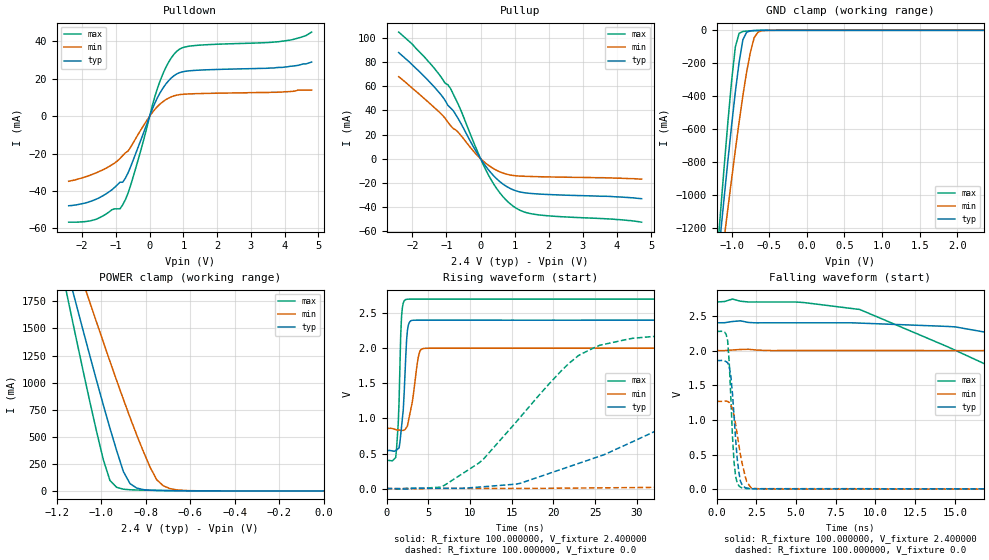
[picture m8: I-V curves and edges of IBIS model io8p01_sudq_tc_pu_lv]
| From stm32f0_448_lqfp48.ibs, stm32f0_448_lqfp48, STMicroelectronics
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|   Model io8p01_sudq_tc_pu_lv
[Model]  io8p01_sudq_tc_pu_lv
Model_type I/O
Polarity   Non-Inverting
Enable   Active-Low
Vinl =   0.720000V
Vinh =   1.680000V
Vmeas =  1.200000V
Cref =   50.000000pF
Rref =   100.000000M
Vref =   0.0V
C_comp   1.378000pF   1.292700pF   1.486400pF
[Temperature Range]   25.000000   0.125000k   -40.000000
[Pullup Reference]   2.400000V   2.000000V   2.700000V
[Pulldown Reference]   0.0V   0.0V   0.0V
[POWER Clamp Reference]   2.400000V   2.000000V   2.700000V
[GND Clamp Reference]   0.0V   0.0V   0.0V
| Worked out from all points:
|   slope of the pulldown table from 0 to 0.36 V, typ, clamps not added: 25.7 ohm
|   slope of the pullup table from 0 to 0.36 V, typ, clamps not added: 26.8 ohm
|   GND clamp passes 1 mA (typ) near -0.67 V on its own axis
|   POWER clamp passes 1 mA (typ) near -0.60 V on its own axis
|   rising waveform, R_fixture 100.000000, V_fixture 2.400000: 20-80 % time 540ps typ, 838ps min, 354ps max; typ from 0.543 V to 2.4 V
|   rising waveform, R_fixture 100.000000, V_fixture 0.0: 20-80 % time 22.5ns typ, 62.6ns min, 10.4ns max; typ from 0.001 V to 1.86 V
|   falling waveform, R_fixture 100.000000, V_fixture 2.400000: 20-80 % time 28.7ns typ, 66.4ns min, 14.8ns max; typ from 2.4 V to 0.543 V
|   falling waveform, R_fixture 100.000000, V_fixture 0.0: 20-80 % time 377ps typ, 594ps min, 284ps max; typ from 1.86 V to 0.001 V
[Pulldown]
|Voltage   I(typ)   I(min)   I(max)
-2.4V     -47.9mA    -34.8mA    -56.7mA
-1.6V     -44.5mA    -30.4mA    -55.2mA
-880mV    -35.33mA   -22.63mA   -49.55mA
-800mV    -35.33mA   -21.13mA   -47.42mA
-640mV    -30.33mA   -18.65mA   -41.16mA
-480mV    -23.12mA   -14mA      -31.94mA
240mV     10.22mA    5.339mA    15.38mA
480mV     17.22mA    8.864mA    26.1mA
800mV     22.59mA    11.27mA    34.68mA
1.28V     24.44mA    12mA       37.7mA
4.16V     26.7mA     13.2mA     40.7mA
4.8V      29mA       14mA       45mA
[Pullup]
|Voltage   I(typ)   I(min)   I(max)
-2.4V     88mA       68mA       105mA
-2V       77.8mA     58.5mA     95mA
-1.36V    59.6mA     42.5mA     75.1mA
-880mV    42.12mA    27.44mA    58.22mA
-560mV    28.45mA    18.75mA    39mA
-160mV    7.44mA     4.66mA     10.64mA
160mV     -6.607mA   -3.947mA   -9.704mA
480mV     -16.91mA   -9.806mA   -25.1mA
880mV     -24.89mA   -13.63mA   -37.75mA
1.2V      -27.87mA   -14.5mA    -43.37mA
1.6V      -29.13mA   -14.89mA   -46.24mA
4.72V     -33.2mA    -17mA      -52.7mA
[GND_clamp]
|Voltage   I(typ)   I(min)   I(max)
-2.4V     -7.358A    -6.372A    -8.78A
-1.2V     -1.489A    -1.65A     -1.416A
-1.15V    -1.254A    -1.461A    -1.124A
-1.1V     -1.024A    -1.273A    -838.2mA
-1.05V    -797.6mA   -1.088A    -563.1mA
-950mV    -374.6mA   -728.7mA   -100.8mA
-900mV    -194.3mA   -557.9mA   -18.01mA
-850mV    -56.94mA   -397.4mA   -7.08mA
-750mV    -3.582mA   -133.8mA   -2.771mA
-700mV    -1.516mA   -44.7mA    -1.516mA
-600mV    -235.4uA   -2.939mA   -209.5uA
2.35V     0A         0A         0A
[POWER_clamp]
|Voltage   I(typ)   I(min)   I(max)
-2.4V     9.979A     9.967A     9.901A
-1.17V    2.182A     2.481A     1.978A
-1.14V    1.945A     2.294A     1.683A
-1.11V    1.71A      2.108A     1.391A
-1.08V    1.476A     1.923A     1.102A
-1.05V    1.245A     1.739A     819.9mA
-960mV    578.3mA    1.196A     96.08mA
-900mV    179.5mA    846.7mA    16.05mA
-870mV    67.19mA    678.8mA    10.83mA
-780mV    6.763mA    219.9mA    5.868mA
-720mV    3.368mA    46.35mA    3.823mA
0V        0A         0A         0A
[Ramp]
| variable   typ   min   max
dV/dt_r  1.11273/22.42683n   0.75702/62.77895n   1.36520/10.35560n
dV/dt_f  1.11418/28.66195n   0.68660/66.52286n   1.37899/14.74510n
R_load = 100.000000
[Rising Waveform]
R_fixture= 100.000000
V_fixture= 2.400000
V_fixture_min= 2.000000
V_fixture_max= 2.700000
|time   V(typ)   V(min)   V(max)
0s        543.1mV    857mV      401.7mV
1.101ns   543mV      841.3mV    444.3mV
1.401ns   569.8mV    834.3mV    922.7mV
1.802ns   884.9mV    831.3mV    2.455V
2.002ns   1.117V     829.8mV    2.641V
2.302ns   1.876V     856.5mV    2.693V
2.703ns   2.359V     1.008V     2.699V
3.804ns   2.4V       1.871V     2.699V
4.404ns   2.4V       1.995V     2.699V
49.85ns   2.4V       2V         2.7V
[Rising Waveform]
R_fixture= 100.000000
V_fixture= 0.0
V_fixture_min= 0.0
V_fixture_max= 0.0
|time   V(typ)   V(min)   V(max)
0s        956.5uV    1.197mV    860.5uV
6.507ns   5.37mV     4.195mV    20.52mV
11.01ns   21.95mV    4.215mV    360.7mV
16.02ns   75.83mV    4.316mV    1.016V
23.52ns   379.9mV    9.446mV    1.928V
37.04ns   1.079V     61.58mV    2.22V
52.55ns   1.658V     194.2mV    2.266V
75.58ns   1.814V     478.5mV    2.276V
139.1ns   1.855V     1.133V     2.276V
249.2ns   1.856V     1.267V     2.276V
[Falling Waveform]
R_fixture= 100.000000
V_fixture= 2.400000
V_fixture_min= 2.000000
V_fixture_max= 2.700000
|time   V(typ)   V(min)   V(max)
0s        2.4V       2V         2.7V
9.009ns   2.396V     2V         2.592V
15.02ns   2.341V     2V         2.005V
28.03ns   1.809V     1.956V     817.7mV
33.53ns   1.559V     1.925V     582.4mV
40.04ns   1.293V     1.873V     493.7mV
55.56ns   817.5mV    1.669V     429.5mV
73.57ns   630mV      1.448V     409mV
126.1ns   551.7mV    1.018V     401.6mV
249.2ns   543.1mV    857mV      401.7mV
[Falling Waveform]
R_fixture= 100.000000
V_fixture= 0.0
V_fixture_min= 0.0
V_fixture_max= 0.0
|time   V(typ)   V(min)   V(max)
0s        1.856V     1.267V     2.276V
700.7ps   1.824V     1.266V     2.141V
900.9ps   1.631V     1.21V      1.321V
1.101ns   1.061V     1.064V     393.1mV
1.201ns   722.1mV    935.5mV    184.1mV
1.401ns   255.7mV    643.5mV    50.88mV
1.702ns   39.42mV    285.7mV    13.58mV
2.202ns   8.094mV    16.68mV    7.773mV
2.903ns   5.642mV    4.558mV    7.628mV
49.85ns   956.5uV    1.197mV    860.5uV
